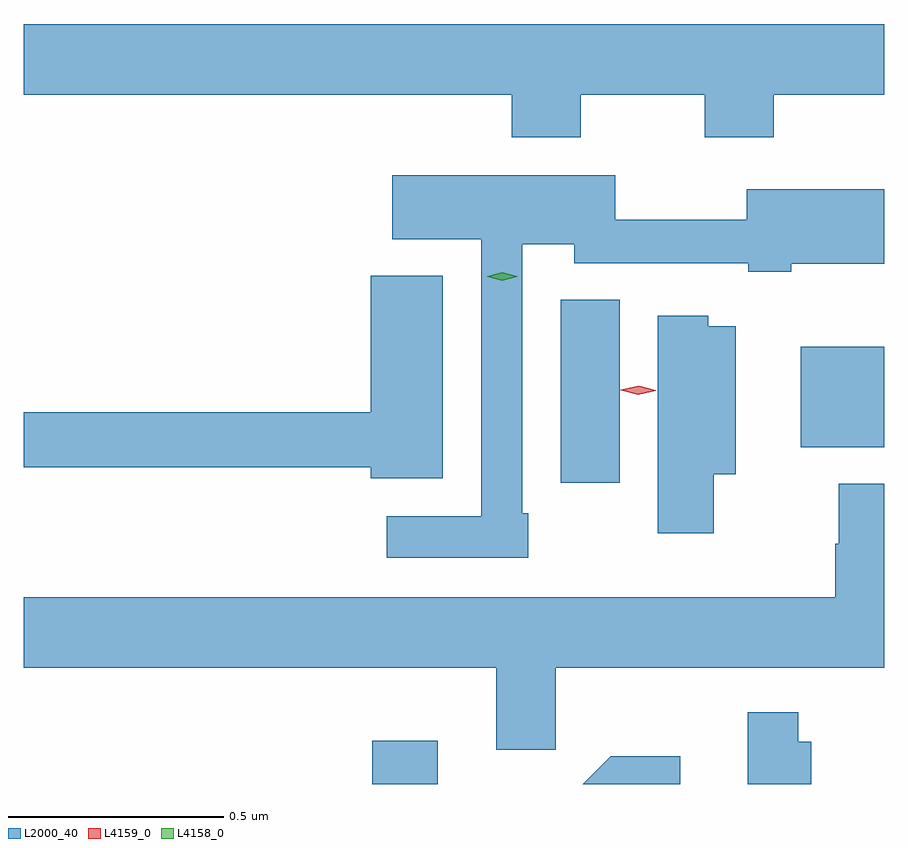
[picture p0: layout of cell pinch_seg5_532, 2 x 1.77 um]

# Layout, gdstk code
import gdstk
lib = gdstk.Library(unit=1e-6, precision=1e-09)
def R(c, l, rs):  # rectangles x0, y0, x1, y1
    for r in rs: c.add(gdstk.rectangle(r[:2], r[2:], *l))
def P(c, l, *ps):  # polygons
    for p in ps: c.add(gdstk.Polygon(p, *l))
L2000_40 = (2000, 40)
L4158_0 = (4158, 0)
L4159_0 = (4159, 0)

pinch_seg5_532 = lib.new_cell('pinch_seg5_532')
R(pinch_seg5_532, L2000_40, [(887.531,841.838,887.683,841.939), (887.969,842.538,888.106,842.963), (888.527,842.621,888.721,842.854)])
P(pinch_seg5_532, L2000_40, [(888.015,843.44),(888.304,843.44),(888.304,843.341),(888.464,843.341),(888.464,843.44),(888.721,843.44),(888.721,843.604),(886.721,843.604),(886.721,843.44),(887.855,843.44),(887.855,843.341),(888.015,843.341)],
  [(887.893,842.467),(887.88,842.467),(887.88,843.092),(888,843.092),(888,843.048),(888.405,843.048),(888.405,843.028),(888.505,843.028),(888.505,843.047),(888.721,843.047),(888.721,843.22),(888.401,843.22),(888.401,843.149),(888.096,843.149),(888.096,843.253),(887.577,843.253),(887.577,843.104),(887.784,843.104),(887.784,842.46),(887.565,842.46),(887.565,842.364),(887.893,842.364)],
  [(887.695,843.019),(887.528,843.019),(887.528,842.702),(886.721,842.702),(886.721,842.574),(887.528,842.574),(887.528,842.549),(887.695,842.549)],
  [(888.324,842.558),(888.376,842.558),(888.376,842.902),(888.312,842.902),(888.312,842.926),(888.194,842.926),(888.194,842.421),(888.324,842.421)],
  [(887.958,842.108),(888.721,842.108),(888.721,842.536),(888.615,842.536),(888.615,842.396),(888.607,842.396),(888.607,842.272),(886.721,842.272),(886.721,842.108),(887.819,842.108),(887.819,841.918),(887.958,841.918)],
  [(888.551,841.936),(888.521,841.936),(888.521,842.005),(888.404,842.005),(888.404,841.838),(888.551,841.838)],
  [(888.247,841.903),(888.085,841.903),(888.02,841.838),(888.247,841.838)])
P(pinch_seg5_532, L4158_0, [(887.833,843.007),(887.798,843.017),(887.798,843.017),(887.798,843.018),(887.833,843.027),(887.868,843.018),(887.868,843.017),(887.868,843.017)])
P(pinch_seg5_532, L4159_0, [(888.149,842.743),(888.109,842.753),(888.109,842.754),(888.109,842.754),(888.15,842.763),(888.19,842.753),(888.19,842.753),(888.19,842.752)])

lib.write_gds('pinch_seg5_532.gds')
